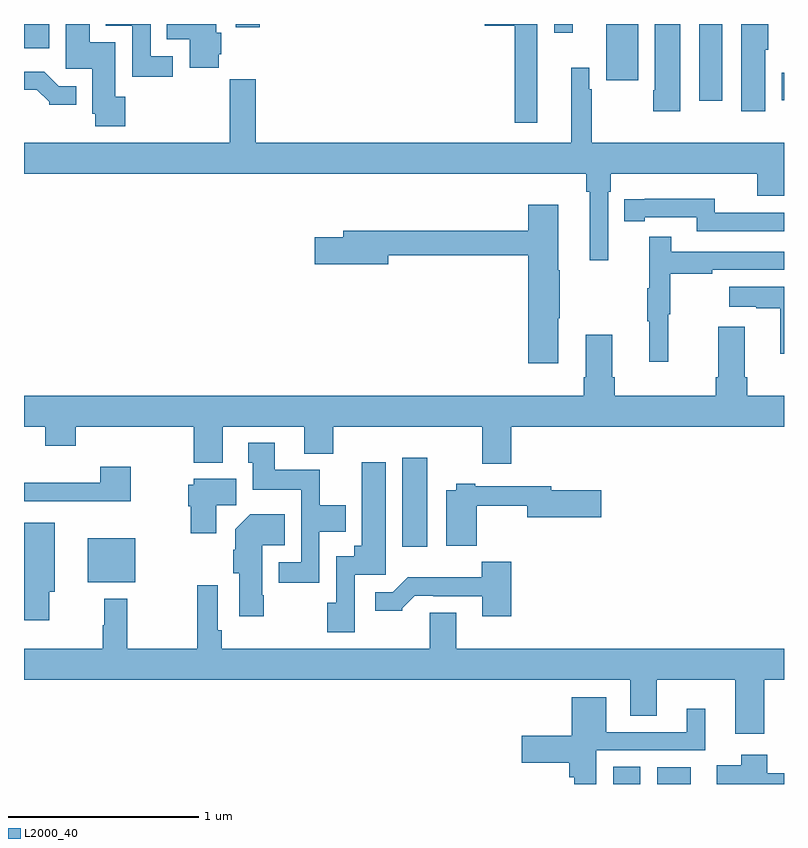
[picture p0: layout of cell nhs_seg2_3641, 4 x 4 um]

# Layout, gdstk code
import gdstk
lib = gdstk.Library(unit=1e-6, precision=1e-09)
def R(c, l, rs):  # rectangles x0, y0, x1, y1
    for r in rs: c.add(gdstk.rectangle(r[:2], r[2:], *l))
def P(c, l, *ps):  # polygons
    for p in ps: c.add(gdstk.Polygon(p, *l))
L2000_40 = (2000, 40)

nhs_seg2_3641 = lib.new_cell('nhs_seg2_3641')
R(nhs_seg2_3641, L2000_40, [(306.101,601.8,306.244,601.892), (306.332,601.8,306.508,601.888), (303.335,602.861,303.586,603.094), (304.991,603.048,305.122,603.517), (306.554,605.397,306.676,605.8), (306.989,605.4,307,605.544), (306.065,605.505,306.232,605.8), (303.002,605.673,303.133,605.8), (305.79,605.754,305.887,605.8), (304.114,605.784,304.242,605.8)])
P(nhs_seg2_3641, L2000_40, [(303.533,605.418),(303.481,605.418),(303.481,605.704),(303.346,605.704),(303.346,605.8),(303.221,605.8),(303.221,605.565),(303.359,605.565),(303.359,605.328),(303.376,605.328),(303.376,605.262),(303.533,605.262)],
  [(303.784,605.631),(303.666,605.631),(303.666,605.8),(303.431,605.8),(303.431,605.792),(303.57,605.792),(303.57,605.523),(303.784,605.523)],
  [(304.025,605.64),(304.039,605.64),(304.039,605.754),(304.012,605.754),(304.012,605.8),(303.751,605.8),(303.751,605.72),(303.872,605.72),(303.872,605.57),(304.025,605.57)],
  [(306.901,605.664),(306.916,605.664),(306.916,605.8),(306.776,605.8),(306.776,605.34),(306.901,605.34)],
  [(306.454,605.8),(306.32,605.8),(306.32,605.452),(306.313,605.452),(306.313,605.34),(306.454,605.34)],
  [(305.702,605.696),(305.7,605.696),(305.7,605.8),(305.426,605.8),(305.426,605.792),(305.584,605.792),(305.584,605.28),(305.702,605.28)],
  [(303.274,605.472),(303.183,605.472),(303.107,605.548),(303,605.548),(303,605.454),(303.068,605.454),(303.132,605.39),(303.132,605.375),(303.274,605.375)],
  [(305.879,605.569),(305.879,605.176),(304.22,605.176),(304.22,605.509),(304.084,605.509),(304.084,605.176),(303,605.176),(303,605.012),(305.959,605.012),(305.959,604.916),(305.978,604.916),(305.978,604.557),(306.075,604.557),(306.075,604.916),(306.089,604.916),(306.089,605.012),(306.86,605.012),(306.86,604.895),(307,604.895),(307,605.176),(305.989,605.176),(305.989,605.456),(305.976,605.456),(305.976,605.569)],
  [(307,604.806),(306.636,604.806),(306.636,604.879),(306.268,604.879),(306.268,604.878),(306.16,604.878),(306.16,604.762),(306.268,604.762),(306.268,604.782),(306.54,604.782),(306.54,604.71),(307,604.71)],
  [(305.812,604.252),(305.82,604.252),(305.82,604.505),(305.812,604.505),(305.812,604.849),(305.654,604.849),(305.654,604.711),(304.679,604.711),(304.679,604.677),(304.53,604.677),(304.53,604.535),(304.918,604.535),(304.918,604.582),(305.654,604.582),(305.654,604.014),(305.812,604.014)],
  [(306.392,604.272),(306.4,604.272),(306.4,604.486),(306.623,604.486),(306.623,604.506),(307,604.506),(307,604.602),(306.407,604.602),(306.407,604.681),(306.29,604.681),(306.29,604.409),(306.279,604.409),(306.279,604.235),(306.29,604.235),(306.29,604.023),(306.392,604.023)],
  [(307,604.417),(306.711,604.417),(306.711,604.313),(306.854,604.313),(306.854,604.303),(306.98,604.303),(306.98,604.065),(307,604.065)],
  [(305.564,603.68),(307,603.68),(307,603.844),(306.806,603.844),(306.806,603.94),(306.793,603.94),(306.793,604.207),(306.653,604.207),(306.653,603.94),(306.641,603.94),(306.641,603.844),(306.11,603.844),(306.11,603.94),(306.097,603.94),(306.097,604.165),(305.957,604.165),(305.957,603.94),(305.945,603.94),(305.945,603.844),(303,603.844),(303,603.68),(303.112,603.68),(303.112,603.581),(303.272,603.581),(303.272,603.68),(303.893,603.68),(303.893,603.491),(304.045,603.491),(304.045,603.68),(304.475,603.68),(304.475,603.539),(304.628,603.539),(304.628,603.68),(305.411,603.68),(305.411,603.486),(305.564,603.486)],
  [(304.554,603.128),(304.693,603.128),(304.693,603.268),(304.557,603.268),(304.557,603.454),(304.321,603.454),(304.321,603.595),(304.181,603.595),(304.181,603.492),(304.205,603.492),(304.205,603.35),(304.458,603.35),(304.458,602.967),(304.341,602.967),(304.341,602.859),(304.554,602.859)],
  [(304.74,602.901),(304.903,602.901),(304.903,603.493),(304.778,603.493),(304.778,603.053),(304.739,603.053),(304.739,602.998),(304.644,602.998),(304.644,602.754),(304.597,602.754),(304.597,602.598),(304.74,602.598)],
  [(303.561,603.469),(303.401,603.469),(303.401,603.386),(303,603.386),(303,603.288),(303.317,603.288),(303.317,603.287),(303.561,603.287)],
  [(304.012,603.268),(304.117,603.268),(304.117,603.406),(303.894,603.406),(303.894,603.375),(303.865,603.375),(303.865,603.261),(303.878,603.261),(303.878,603.12),(304.012,603.12)],
  [(305.384,603.265),(305.648,603.265),(305.648,603.203),(306.037,603.203),(306.037,603.345),(305.776,603.345),(305.776,603.366),(305.374,603.366),(305.374,603.379),(305.274,603.379),(305.274,603.346),(305.222,603.346),(305.222,603.053),(305.384,603.053)],
  [(304.263,602.794),(304.255,602.794),(304.255,603.056),(304.373,603.056),(304.373,603.22),(304.19,603.22),(304.112,603.142),(304.112,603.032),(304.1,603.032),(304.1,602.91),(304.133,602.91),(304.133,602.682),(304.263,602.682)],
  [(303.132,602.813),(303.163,602.813),(303.163,603.175),(303.002,603.175),(303.002,602.661),(303.132,602.661)],
  [(305.564,602.971),(305.409,602.971),(305.409,602.887),(305.02,602.887),(304.941,602.808),(304.848,602.808),(304.848,602.711),(304.992,602.711),(304.992,602.726),(305.056,602.79),(305.155,602.79),(305.155,602.787),(305.411,602.787),(305.411,602.682),(305.564,602.682)],
  [(306.896,602.348),(307,602.348),(307,602.512),(305.275,602.512),(305.275,602.702),(305.135,602.702),(305.135,602.512),(304.04,602.512),(304.04,602.608),(304.02,602.608),(304.02,602.845),(303.912,602.845),(303.912,602.512),(303.544,602.512),(303.544,602.776),(303.423,602.776),(303.423,602.636),(303.415,602.636),(303.415,602.512),(303,602.512),(303,602.348),(306.191,602.348),(306.191,602.158),(306.331,602.158),(306.331,602.348),(306.743,602.348),(306.743,602.064),(306.896,602.064)],
  [(306.012,601.977),(306.586,601.977),(306.586,602.197),(306.488,602.197),(306.488,602.073),(306.064,602.073),(306.064,602.257),(305.882,602.257),(305.882,602.055),(305.619,602.055),(305.619,601.913),(305.87,601.913),(305.87,601.835),(305.896,601.835),(305.896,601.8),(306.012,601.8)],
  [(307,601.856),(306.911,601.856),(306.911,601.954),(306.776,601.954),(306.776,601.9),(306.647,601.9),(306.647,601.8),(307,601.8)])

lib.write_gds('nhs_seg2_3641.gds')
